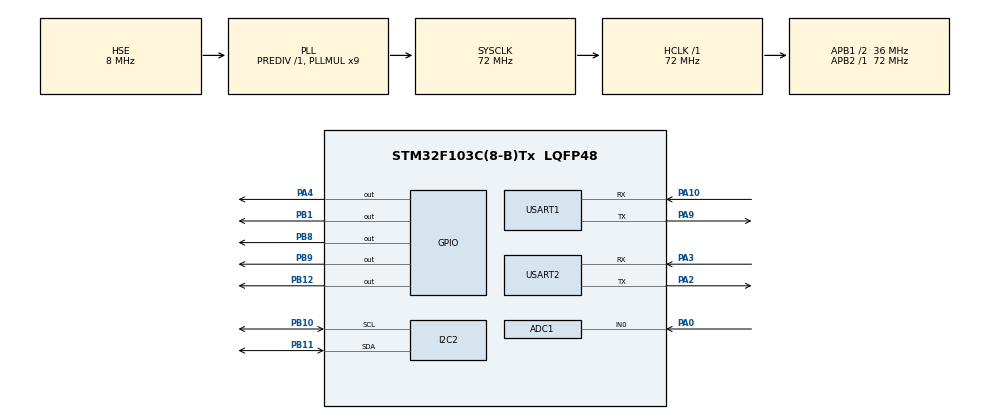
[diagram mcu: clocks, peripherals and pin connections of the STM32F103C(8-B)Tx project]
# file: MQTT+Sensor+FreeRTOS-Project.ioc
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ADC1.Channel-3\#ChannelRegularConversion=ADC_CHANNEL_0
ADC1.ContinuousConvMode=ENABLE
ADC1.NbrOfConversionFlag=1
ADC1.Rank-3\#ChannelRegularConversion=1
ADC1.SamplingTime-3\#ChannelRegularConversion=ADC_SAMPLETIME_1CYCLE_5
ADC1.master=1
Dma.ADC1.0.Direction=DMA_PERIPH_TO_MEMORY
Dma.ADC1.0.Instance=DMA1_Channel1
Dma.ADC1.0.MemDataAlignment=DMA_MDATAALIGN_HALFWORD
Dma.ADC1.0.MemInc=DMA_MINC_ENABLE
Dma.ADC1.0.Mode=DMA_NORMAL
Dma.ADC1.0.PeriphDataAlignment=DMA_PDATAALIGN_HALFWORD
Dma.ADC1.0.PeriphInc=DMA_PINC_DISABLE
Dma.ADC1.0.Priority=DMA_PRIORITY_LOW
Dma.Request0=ADC1
FREERTOS.Tasks01=defaultTask,24,188,StartDefaultTask,Default,NULL,Dynamic,NULL,NULL
FREERTOS.configMINIMAL_STACK_SIZE=188
FREERTOS.configUSE_IDLE_HOOK=1
FREERTOS.configUSE_STATS_FORMATTING_FUNCTIONS=1
Mcu.Family=STM32F1
Mcu.Name=STM32F103C(8-B)Tx
Mcu.Package=LQFP48
NVIC.ADC1_2_IRQn=true\:5\:0\:false\:false\:true\:true\:true\:true\:true
NVIC.DMA1_Channel1_IRQn=true\:5\:0\:false\:false\:true\:true\:false\:true\:true
NVIC.PriorityGroup=NVIC_PRIORITYGROUP_4
NVIC.TIM4_IRQn=true\:15\:0\:false\:false\:true\:false\:false\:true\:true
NVIC.TimeBase=TIM4_IRQn
NVIC.TimeBaseIP=TIM4
NVIC.USART2_IRQn=true\:5\:0\:false\:false\:true\:true\:true\:true\:true
PA0-WKUP.Signal=ADCx_IN0
PA10.Mode=Asynchronous
PA10.Signal=USART1_RX
PA13.Mode=Serial_Wire
PA13.Signal=SYS_JTMS-SWDIO
PA14.Mode=Serial_Wire
PA14.Signal=SYS_JTCK-SWCLK
PA2.Mode=Asynchronous
PA2.Signal=USART2_TX
PA3.Mode=Asynchronous
PA3.Signal=USART2_RX
PA4.GPIO_PuPd=GPIO_PULLUP
PA4.Signal=GPIO_Output
PA9.Mode=Asynchronous
PA9.Signal=USART1_TX
PB1.GPIO_ModeDefaultOutputPP=GPIO_MODE_OUTPUT_PP
PB1.GPIO_PuPd=GPIO_PULLUP
PB1.PinState=GPIO_PIN_SET
PB1.Signal=GPIO_Output
PB10.Mode=I2C
PB10.Signal=I2C2_SCL
PB11.Mode=I2C
PB11.Signal=I2C2_SDA
PB12.GPIO_PuPd=GPIO_PULLUP
PB12.PinState=GPIO_PIN_SET
PB12.Signal=GPIO_Output
PB8.GPIO_ModeDefaultOutputPP=GPIO_MODE_OUTPUT_OD
PB8.GPIO_PuPd=GPIO_NOPULL
PB8.GPIO_Speed=GPIO_SPEED_FREQ_HIGH
PB8.Signal=GPIO_Output
PB9.GPIO_ModeDefaultOutputPP=GPIO_MODE_OUTPUT_OD
PB9.GPIO_PuPd=GPIO_NOPULL
PB9.GPIO_Speed=GPIO_SPEED_FREQ_HIGH
PB9.Signal=GPIO_Output
PC14-OSC32_IN.Mode=LSE-External-Oscillator
PC14-OSC32_IN.Signal=RCC_OSC32_IN
PC15-OSC32_OUT.Mode=LSE-External-Oscillator
PC15-OSC32_OUT.Signal=RCC_OSC32_OUT
PD0-OSC_IN.Mode=HSE-External-Oscillator
PD0-OSC_IN.Signal=RCC_OSC_IN
PD1-OSC_OUT.Mode=HSE-External-Oscillator
PD1-OSC_OUT.Signal=RCC_OSC_OUT
ProjectManager.HeapSize=0x200
ProjectManager.StackSize=0x400
ProjectManager.TargetToolchain=MDK-ARM V5.32
RCC.ADCPresc=RCC_ADCPCLK2_DIV6
RCC.AHBFreq_Value=72000000
RCC.APB1CLKDivider=RCC_HCLK_DIV2
RCC.APB1Freq_Value=36000000
RCC.APB1TimFreq_Value=72000000
RCC.APB2Freq_Value=72000000
RCC.APB2TimFreq_Value=72000000
RCC.HCLKFreq_Value=72000000
RCC.PLLMUL=RCC_PLL_MUL9
RCC.PLLSourceVirtual=RCC_PLLSOURCE_HSE
RCC.SYSCLKFreq_VALUE=72000000
RCC.SYSCLKSource=RCC_SYSCLKSOURCE_PLLCLK
RCC.USBFreq_Value=72000000
SH.ADCx_IN0.0=ADC1_IN0,IN0
USART1.VirtualMode=VM_ASYNC
USART2.VirtualMode=VM_ASYNC
VP_FREERTOS_VS_CMSIS_V2.Mode=CMSIS_V2
VP_SYS_VS_tim4.Mode=TIM4
board=custom

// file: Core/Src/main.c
/* USER CODE BEGIN Header */
/**
  ******************************************************************************
  * @file           : main.c
  * @brief          : Main program body
  ******************************************************************************
  * @attention
  *
  * Copyright (c) 2026 STMicroelectronics.
  * All rights reserved.
  *
  * This software is licensed under terms that can be found in the LICENSE file
  * in the root directory of this software component.
  * If no LICENSE file comes with this software, it is provided AS-IS.
  *
  ******************************************************************************
  */
/* USER CODE END Header */
#include "main.h"
#include "cmsis_os.h"
#include "adc.h"
#include "dma.h"
#include "i2c.h"
#include "usart.h"
#include "gpio.h"

/* USER CODE BEGIN Includes */
#include "OLED.h"
#include "ESP8266.h"
/* USER CODE END Includes */

void SystemClock_Config(void);
void MX_FREERTOS_Init(void);

int main(void)
{

  /* MCU Configuration--------------------------------------------------------*/

  /* Reset of all peripherals, Initializes the Flash interface and the Systick. */
  HAL_Init();

  /* Configure the system clock */
  SystemClock_Config();

  /* Initialize all configured peripherals */
  MX_GPIO_Init();
  MX_DMA_Init();
  MX_USART1_UART_Init();
  MX_ADC1_Init();
  MX_I2C2_Init();
  MX_USART2_UART_Init();
  /* USER CODE BEGIN 2 */
  OLED_Init();

//  		OLED_ShowString(1,1,"Hello");

   //DHT11_GPIO_Config();
  /* USER CODE END 2 */

  /* Init scheduler */
  osKernelInitialize();  /* Call init function for freertos objects (in cmsis_os2.c) */
  MX_FREERTOS_Init();

  /* Start scheduler */
  osKernelStart();

  /* We should never get here as control is now taken by the scheduler */

  /* Infinite loop */
  while (1)
  {

  }
}

void SystemClock_Config(void)
{
  RCC_OscInitTypeDef RCC_OscInitStruct = {0};
  RCC_ClkInitTypeDef RCC_ClkInitStruct = {0};
  RCC_PeriphCLKInitTypeDef PeriphClkInit = {0};

  /** Initializes the RCC Oscillators according to the specified parameters
  * in the RCC_OscInitTypeDef structure.
  */
  RCC_OscInitStruct.OscillatorType = RCC_OSCILLATORTYPE_HSE;
  RCC_OscInitStruct.HSEState = RCC_HSE_ON;
  RCC_OscInitStruct.HSEPredivValue = RCC_HSE_PREDIV_DIV1;
  RCC_OscInitStruct.HSIState = RCC_HSI_ON;
  RCC_OscInitStruct.PLL.PLLState = RCC_PLL_ON;
  RCC_OscInitStruct.PLL.PLLSource = RCC_PLLSOURCE_HSE;
  RCC_OscInitStruct.PLL.PLLMUL = RCC_PLL_MUL9;
  if (HAL_RCC_OscConfig(&RCC_OscInitStruct) != HAL_OK)
  {
    Error_Handler();
  }

  /** Initializes the CPU, AHB and APB buses clocks
  */
  RCC_ClkInitStruct.ClockType = RCC_CLOCKTYPE_HCLK|RCC_CLOCKTYPE_SYSCLK
                              |RCC_CLOCKTYPE_PCLK1|RCC_CLOCKTYPE_PCLK2;
  RCC_ClkInitStruct.SYSCLKSource = RCC_SYSCLKSOURCE_PLLCLK;
  RCC_ClkInitStruct.AHBCLKDivider = RCC_SYSCLK_DIV1;
  RCC_ClkInitStruct.APB1CLKDivider = RCC_HCLK_DIV2;
  RCC_ClkInitStruct.APB2CLKDivider = RCC_HCLK_DIV1;

  if (HAL_RCC_ClockConfig(&RCC_ClkInitStruct, FLASH_LATENCY_2) != HAL_OK)
  {
    Error_Handler();
  }
  PeriphClkInit.PeriphClockSelection = RCC_PERIPHCLK_ADC;
  PeriphClkInit.AdcClockSelection = RCC_ADCPCLK2_DIV6;
  if (HAL_RCCEx_PeriphCLKConfig(&PeriphClkInit) != HAL_OK)
  {
    Error_Handler();
  }
}

void HAL_TIM_PeriodElapsedCallback(TIM_HandleTypeDef *htim)
{
  if (htim->Instance == TIM4)
  {
    HAL_IncTick();
  }
}

void Error_Handler(void)
{
  __disable_irq();
  while (1)
  {
  }
}

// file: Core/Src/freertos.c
/* USER CODE BEGIN Header */
/**
  ******************************************************************************
  * File Name          : freertos.c
  * Description        : Code for freertos applications
  ******************************************************************************
  * @attention
  *
  * Copyright (c) 2026 STMicroelectronics.
  * All rights reserved.
  *
  * This software is licensed under terms that can be found in the LICENSE file
  * in the root directory of this software component.
  * If no LICENSE file comes with this software, it is provided AS-IS.
  *
  ******************************************************************************
  */
/* USER CODE END Header */

#include "FreeRTOS.h"
#include "task.h"
#include "main.h"
#include "cmsis_os.h"

/* USER CODE BEGIN Includes */
#include "UART_Task.h"
#include "LightSensor.h"
#include "OLED.h"
#include "DHT11.h"
#include "LED.h"
#include "MPU6050.h"
#include "ESP8266.h"
#include "Light_LED_Task.h"
#include "Buzzer.h"
#include "Attitude_Alarm_Task.h"
/* USER CODE END Includes */

/* USER CODE BEGIN PD */
/* 创建一个检查各个任务占有CPU资源任务所需要的内存 */
 char pcWriteBuffer[200];

/* 创建AAT任务栈大小,用于静态创建任务 */
static StackType_t g_pucStackofAAT[256];

/* 创建串口任务栈大小 用于静态创建任务 */
static StackType_t  g_pucStackofUARTTask[128];

/* 创建补光任务栈大小 用于静态创建任务 */
static StackType_t  g_pucStackofWakeLEDTask[128];

/* 创建温湿度任务栈大小，用于静态创建任务 */
static StackType_t g_pucStackofDHT11Task[128];

/* 创建ESP8266的任务栈大小,用于静态创建任务 */
static StackType_t g_pucStackofESP8266Task[128];

/* 创建LED闪烁任务栈大小,用于静态创建任务 */
static StackType_t g_pucStackofToggleLEDTask[128];

/* 创建串口任务的TCB结构体 用于静态创建任务 */
static StaticTask_t g_TCBofUARTTask;

/* 创建补光任务的TCB结构体 用于静态创建任务 */
static StaticTask_t g_TCBofWakeLEDTask;

/* 创建AAT任务的TCB结构体,用于静态创建任务 */
static StaticTask_t g_TCBofAATTask;

/* 创建温湿度传感器任务的TCB结构体,用于创建静态任务 */
static StaticTask_t g_TCBofDHT11Task;

/* 创建LED闪烁TCB结构体,用于静态创建任务 */
static StaticTask_t g_TCBofToggleLEDTask;

/* 创建ESP8266任务的TCB结构体,用于创建静态任务 */
static StaticTask_t g_TCBofESP8266Task;

/* USER CODE END PD */

/* USER CODE BEGIN Variables */

/* 创建串口任务句柄 */
static TaskHandle_t UARTTaskHandle;

/* 创建DHT11温湿度传感器任务句柄 */
static TaskHandle_t DHT11Handle;

/* 创建ESP8266句柄 */
static TaskHandle_t ESP8266Handle;

/* 创建补光任务句柄 */
static TaskHandle_t WakeLEDHandle;

/* 创建姿态报警任务句柄 */
static TaskHandle_t AATHandle;

/* 创建LED闪烁任务句柄 */
static TaskHandle_t ToggleLEDHandle;

/* USER CODE END Variables */
/* Definitions for defaultTask */
osThreadId_t defaultTaskHandle;
const osThreadAttr_t defaultTask_attributes = {
  .name = "defaultTask",
  .stack_size = 100 * 4,
  .priority = (osPriority_t) osPriorityNormal,
};

void StartDefaultTask(void *argument);

void MX_FREERTOS_Init(void); /* (MISRA C 2004 rule 8.1) */

/* Hook prototypes */
void vApplicationIdleHook(void);

/* USER CODE BEGIN 2 */
void vApplicationIdleHook( void )
{

   /* vApplicationIdleHook() will only be called if configUSE_IDLE_HOOK is set
   to 1 in FreeRTOSConfig.h. It will be called on each iteration of the idle
   task. It is essential that code added to this hook function never attempts
   to block in any way (for example, call xQueueReceive() with a block time
   specified, or call vTaskDelay()). If the application makes use of the
   vTaskDelete() API function (as this demo application does) then it is also
   important that vApplicationIdleHook() is permitted to return to its calling
   function, because it is the responsibility of the idle task to clean up
   memory allocated by the kernel to any task that has since been deleted. */
	//vTaskList(pcWriteBuffer);
	//printf("%s\r\n",pcWriteBuffer);
}
/* USER CODE END 2 */

void MX_FREERTOS_Init(void) {

  /* Create the thread(s) */
  /* creation of defaultTask */
  defaultTaskHandle = osThreadNew(StartDefaultTask, NULL, &defaultTask_attributes);

  /* USER CODE BEGIN RTOS_THREADS */

  /* add threads, ... */
  /* 创建串口打印任务 */
  //UARTTaskHandle=xTaskCreateStatic(UART_Task,"PrintTask",128,NULL,osPriorityNormal,g_pucStackofUARTTask,&g_TCBofUARTTask);

  /* 创建FreeRtos1:补光任务 */
  WakeLEDHandle=xTaskCreateStatic(Light_LED_Task,"WakeLEDTask",88,NULL,osPriorityNormal,g_pucStackofWakeLEDTask,&g_TCBofWakeLEDTask);

  /* 创建温湿度传感任务 */
  DHT11Handle=xTaskCreateStatic(DHT11_Task,"DHT11Task",100,NULL,osPriorityNormal,g_pucStackofDHT11Task,&g_TCBofDHT11Task);

  /* 创建姿态异常报警任务 */
  AATHandle = xTaskCreateStatic(Attitude_Alarm_Task,"AATTask",256,NULL,osPriorityNormal,g_pucStackofAAT,&g_TCBofAATTask);

  /* 创建两个任务共用蜂鸣器的情况,LED闪烁表示这个情况 */
  //ToggleLEDHandle=xTaskCreateStatic(ToggleLED,"ToggleLEDTask",128,NULL,osPriorityNormal,g_pucStackofToggleLEDTask,&g_TCBofToggleLEDTask);

  /* 创建ESP8266任务  */
  ESP8266Handle=xTaskCreateStatic(ESP8266_Task,"ESP8266Task",128,NULL,osPriorityNormal+3,g_pucStackofESP8266Task,&g_TCBofESP8266Task);
  /* USER CODE END RTOS_THREADS */

}

void StartDefaultTask(void *argument)
{
  for(;;)
  {
    osDelay(1);
  }
}
